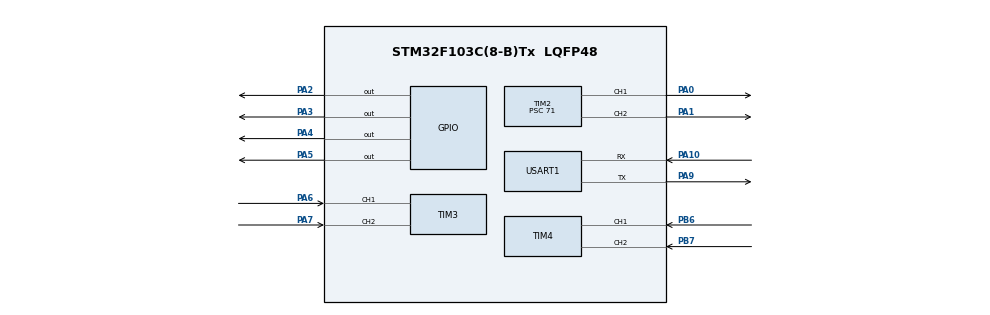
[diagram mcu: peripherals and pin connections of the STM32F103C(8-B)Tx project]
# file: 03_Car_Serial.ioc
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Mcu.Family=STM32F1
Mcu.Name=STM32F103C(8-B)Tx
Mcu.Package=LQFP48
NVIC.PriorityGroup=NVIC_PRIORITYGROUP_4
NVIC.TIM1_UP_IRQn=true\:0\:0\:false\:false\:true\:true\:true\:true
PA0-WKUP.Signal=S_TIM2_CH1_ETR
PA1.Signal=S_TIM2_CH2
PA10.Mode=Asynchronous
PA10.Signal=USART1_RX
PA13.Mode=Serial_Wire
PA13.Signal=SYS_JTMS-SWDIO
PA14.Mode=Serial_Wire
PA14.Signal=SYS_JTCK-SWCLK
PA2.Signal=GPIO_Output
PA3.Signal=GPIO_Output
PA4.Signal=GPIO_Output
PA5.Signal=GPIO_Output
PA6.Signal=S_TIM3_CH1
PA7.Signal=S_TIM3_CH2
PA9.Mode=Asynchronous
PA9.Signal=USART1_TX
PB6.Signal=S_TIM4_CH1
PB7.Signal=S_TIM4_CH2
ProjectManager.HeapSize=0x200
ProjectManager.StackSize=0x400
ProjectManager.TargetToolchain=STM32CubeIDE
RCC.APB1Freq_Value=8000000
RCC.APB2Freq_Value=8000000
SH.S_TIM2_CH1_ETR.0=TIM2_CH1,PWM Generation1 CH1
SH.S_TIM2_CH2.0=TIM2_CH2,PWM Generation2 CH2
SH.S_TIM3_CH1.0=TIM3_CH1,Encoder_Interface
SH.S_TIM3_CH2.0=TIM3_CH2,Encoder_Interface
SH.S_TIM4_CH1.0=TIM4_CH1,Encoder_Interface
SH.S_TIM4_CH2.0=TIM4_CH2,Encoder_Interface
TIM1.Period=99
TIM1.Prescaler=7199
TIM2.Channel-PWM\ Generation1\ CH1=TIM_CHANNEL_1
TIM2.Channel-PWM\ Generation2\ CH2=TIM_CHANNEL_2
TIM2.Period=999
TIM2.Prescaler=71
USART1.VirtualMode=VM_ASYNC
VP_TIM1_VS_ClockSourceINT.Mode=Internal
board=custom

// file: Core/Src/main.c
/* USER CODE BEGIN Header */
/**
  ******************************************************************************
  * @file           : main.c
  * @brief          : Main program body
  ******************************************************************************
  * @attention
  *
  * Copyright (c) 2026 STMicroelectronics.
  * All rights reserved.
  *
  * This software is licensed under terms that can be found in the LICENSE file
  * in the root directory of this software component.
  * If no LICENSE file comes with this software, it is provided AS-IS.
  *
  ******************************************************************************
  */
/* USER CODE END Header */
#include "main.h"

/* USER CODE BEGIN Includes */
#include <stdio.h>
#include <string.h>
/* USER CODE END Includes */

TIM_HandleTypeDef htim1;
TIM_HandleTypeDef htim2;
TIM_HandleTypeDef htim3;
TIM_HandleTypeDef htim4;

UART_HandleTypeDef huart1;

/* USER CODE BEGIN PV */
typedef struct {
    float Kp, Ki, Kd;
    float target;
    float error, last_error;
    float integral;
    float output;
    float output_max;
} PID;

PID pid;
volatile float current_rpm = 0;
volatile uint8_t pid_ready = 0;
#define PULSES_PER_REV 1456.0f

// 串口接收缓冲区（用于轮询）
volatile uint8_t uart_rx_buf[7];
volatile uint8_t uart_rx_index = 0;
volatile uint8_t uart_rx_complete = 0;

/* USER CODE END PV */

void SystemClock_Config(void);
static void MX_GPIO_Init(void);
static void MX_TIM1_Init(void);
static void MX_TIM2_Init(void);
static void MX_TIM3_Init(void);
static void MX_TIM4_Init(void);
static void MX_USART1_UART_Init(void);

/* USER CODE BEGIN 0 */
void PID_Calc(PID *p, float current)
{
    if (p->target == 0.0f) {
        p->output = 0.0f;
        p->integral = 0.0f;
        p->last_error = 0.0f;
        return;
    }

    p->error = p->target - current;
    p->integral += p->error;
    if (p->integral > 500.0f) p->integral = 500.0f;
    if (p->integral < -100.0f) p->integral = -100.0f;

    float output = 275.0f;
    output += p->Kp * p->error;
    output += p->Ki * p->integral;
    output += p->Kd * (p->error - p->last_error);
    if (output > 900.0f) output = 900.0f;
    if (output < 0.0f)   output = 0.0f;

    p->output = output;
    p->last_error = p->error;
}

// 指令解析（统一用 pid）
void Parse_Command(void)
{
  if (uart_rx_complete)
  {
    uart_rx_complete = 0;
    uint8_t cmd = uart_rx_buf[1];
    int16_t left_speed = (uart_rx_buf[2] << 8) | uart_rx_buf[3];
    int16_t right_speed = (uart_rx_buf[4] << 8) | uart_rx_buf[5];

    switch (cmd)
    {
      case 0x01:
        pid.target = left_speed;
        HAL_GPIO_WritePin(GPIOA, GPIO_PIN_2, GPIO_PIN_SET);
        HAL_GPIO_WritePin(GPIOA, GPIO_PIN_3, GPIO_PIN_RESET);
        HAL_GPIO_WritePin(GPIOA, GPIO_PIN_4, GPIO_PIN_SET);
        HAL_GPIO_WritePin(GPIOA, GPIO_PIN_5, GPIO_PIN_RESET);
        break;
      case 0x05:
        pid.target = 0;
        break;
    }
  }
}
/* USER CODE END 0 */

int main(void)
{

  /* MCU Configuration--------------------------------------------------------*/

  /* Reset of all peripherals, Initializes the Flash interface and the Systick. */
  HAL_Init();

  /* Configure the system clock */
  SystemClock_Config();

  /* Initialize all configured peripherals */
  MX_GPIO_Init();
  MX_TIM1_Init();
  MX_TIM2_Init();
  MX_TIM3_Init();
  MX_TIM4_Init();
  MX_USART1_UART_Init();
  /* USER CODE BEGIN 2 */
  // 手动开启编码器引脚上拉
  GPIOA->ODR |= (GPIO_PIN_6 | GPIO_PIN_7);
  GPIOB->ODR |= (GPIO_PIN_6 | GPIO_PIN_7);

  // 启动编码器和PWM
  HAL_TIM_Encoder_Start(&htim3, TIM_CHANNEL_ALL);
  HAL_TIM_Encoder_Start(&htim4, TIM_CHANNEL_ALL);
  HAL_TIM_PWM_Start(&htim2, TIM_CHANNEL_1);
  HAL_TIM_PWM_Start(&htim2, TIM_CHANNEL_2);
  HAL_TIM_Base_Start_IT(&htim1);

  // PID参数
  pid.Kp = 2.5f;
  pid.Ki = 0.2f;
  pid.Kd = 0.1f;
  pid.target = 0.0f;
  pid.output_max = 999.0f;
  pid.integral = 0;
  pid.last_error = 0;

  // 方向：正转
  HAL_GPIO_WritePin(GPIOA, GPIO_PIN_2, GPIO_PIN_SET);
  HAL_GPIO_WritePin(GPIOA, GPIO_PIN_3, GPIO_PIN_RESET);
  HAL_GPIO_WritePin(GPIOA, GPIO_PIN_4, GPIO_PIN_SET);
  HAL_GPIO_WritePin(GPIOA, GPIO_PIN_5, GPIO_PIN_RESET);

  // 启动消息
  char *msg = "READY\r\n";
  HAL_UART_Transmit(&huart1, (uint8_t*)msg, strlen(msg), HAL_MAX_DELAY);
  /* USER CODE END 2 */

  /* Infinite loop */
  /* USER CODE BEGIN WHILE */
  while (1)
  {
	  // ========== 串口轮询接收 ==========
	    if (__HAL_UART_GET_FLAG(&huart1, UART_FLAG_RXNE))
	    {
	      char cmd = (char)(huart1.Instance->DR & 0xFF);

	      switch (cmd)
	      {
	        case 'w':  // 前进
	          HAL_GPIO_WritePin(GPIOA, GPIO_PIN_2, GPIO_PIN_SET);
	          HAL_GPIO_WritePin(GPIOA, GPIO_PIN_3, GPIO_PIN_RESET);
	          HAL_GPIO_WritePin(GPIOA, GPIO_PIN_4, GPIO_PIN_SET);
	          HAL_GPIO_WritePin(GPIOA, GPIO_PIN_5, GPIO_PIN_RESET);
	          __HAL_TIM_SET_COMPARE(&htim2, TIM_CHANNEL_1, 300);
	          __HAL_TIM_SET_COMPARE(&htim2, TIM_CHANNEL_2, 300);
	          break;

	        case 's':  // 后退
	          HAL_GPIO_WritePin(GPIOA, GPIO_PIN_2, GPIO_PIN_RESET);
	          HAL_GPIO_WritePin(GPIOA, GPIO_PIN_3, GPIO_PIN_SET);
	          HAL_GPIO_WritePin(GPIOA, GPIO_PIN_4, GPIO_PIN_RESET);
	          HAL_GPIO_WritePin(GPIOA, GPIO_PIN_5, GPIO_PIN_SET);
	          __HAL_TIM_SET_COMPARE(&htim2, TIM_CHANNEL_1, 300);
	          __HAL_TIM_SET_COMPARE(&htim2, TIM_CHANNEL_2, 300);
	          break;

	        case 'a':  // 左转（左轮反转，右轮正转）
	          HAL_GPIO_WritePin(GPIOA, GPIO_PIN_2, GPIO_PIN_RESET);
	          HAL_GPIO_WritePin(GPIOA, GPIO_PIN_3, GPIO_PIN_SET);
	          HAL_GPIO_WritePin(GPIOA, GPIO_PIN_4, GPIO_PIN_SET);
	          HAL_GPIO_WritePin(GPIOA, GPIO_PIN_5, GPIO_PIN_RESET);
	          __HAL_TIM_SET_COMPARE(&htim2, TIM_CHANNEL_1, 300);
	          __HAL_TIM_SET_COMPARE(&htim2, TIM_CHANNEL_2, 300);
	          break;

	        case 'd':  // 右转（左轮正转，右轮反转）
	          HAL_GPIO_WritePin(GPIOA, GPIO_PIN_2, GPIO_PIN_SET);
	          HAL_GPIO_WritePin(GPIOA, GPIO_PIN_3, GPIO_PIN_RESET);
	          HAL_GPIO_WritePin(GPIOA, GPIO_PIN_4, GPIO_PIN_RESET);
	          HAL_GPIO_WritePin(GPIOA, GPIO_PIN_5, GPIO_PIN_SET);
	          __HAL_TIM_SET_COMPARE(&htim2, TIM_CHANNEL_1, 300);
	          __HAL_TIM_SET_COMPARE(&htim2, TIM_CHANNEL_2, 300);
	          break;

	        case ' ':  // 停止
	          __HAL_TIM_SET_COMPARE(&htim2, TIM_CHANNEL_1, 0);
	          __HAL_TIM_SET_COMPARE(&htim2, TIM_CHANNEL_2, 0);
	          break;
	      }
	    }
    /* USER CODE END WHILE */
  }
  }

void SystemClock_Config(void)
{
  RCC_OscInitTypeDef RCC_OscInitStruct = {0};
  RCC_ClkInitTypeDef RCC_ClkInitStruct = {0};

  /** Initializes the RCC Oscillators according to the specified parameters
  * in the RCC_OscInitTypeDef structure.
  */
  RCC_OscInitStruct.OscillatorType = RCC_OSCILLATORTYPE_HSI;
  RCC_OscInitStruct.HSIState = RCC_HSI_ON;
  RCC_OscInitStruct.HSICalibrationValue = RCC_HSICALIBRATION_DEFAULT;
  RCC_OscInitStruct.PLL.PLLState = RCC_PLL_NONE;
  if (HAL_RCC_OscConfig(&RCC_OscInitStruct) != HAL_OK)
  {
    Error_Handler();
  }

  /** Initializes the CPU, AHB and APB buses clocks
  */
  RCC_ClkInitStruct.ClockType = RCC_CLOCKTYPE_HCLK|RCC_CLOCKTYPE_SYSCLK
                              |RCC_CLOCKTYPE_PCLK1|RCC_CLOCKTYPE_PCLK2;
  RCC_ClkInitStruct.SYSCLKSource = RCC_SYSCLKSOURCE_HSI;
  RCC_ClkInitStruct.AHBCLKDivider = RCC_SYSCLK_DIV1;
  RCC_ClkInitStruct.APB1CLKDivider = RCC_HCLK_DIV1;
  RCC_ClkInitStruct.APB2CLKDivider = RCC_HCLK_DIV1;

  if (HAL_RCC_ClockConfig(&RCC_ClkInitStruct, FLASH_LATENCY_0) != HAL_OK)
  {
    Error_Handler();
  }
}

static void MX_TIM1_Init(void)
{

  TIM_ClockConfigTypeDef sClockSourceConfig = {0};
  TIM_MasterConfigTypeDef sMasterConfig = {0};

  htim1.Instance = TIM1;
  htim1.Init.Prescaler = 7199;
  htim1.Init.CounterMode = TIM_COUNTERMODE_UP;
  htim1.Init.Period = 99;
  htim1.Init.ClockDivision = TIM_CLOCKDIVISION_DIV1;
  htim1.Init.RepetitionCounter = 0;
  htim1.Init.AutoReloadPreload = TIM_AUTORELOAD_PRELOAD_DISABLE;
  if (HAL_TIM_Base_Init(&htim1) != HAL_OK)
  {
    Error_Handler();
  }
  sClockSourceConfig.ClockSource = TIM_CLOCKSOURCE_INTERNAL;
  if (HAL_TIM_ConfigClockSource(&htim1, &sClockSourceConfig) != HAL_OK)
  {
    Error_Handler();
  }
  sMasterConfig.MasterOutputTrigger = TIM_TRGO_RESET;
  sMasterConfig.MasterSlaveMode = TIM_MASTERSLAVEMODE_DISABLE;
  if (HAL_TIMEx_MasterConfigSynchronization(&htim1, &sMasterConfig) != HAL_OK)
  {
    Error_Handler();
  }

}

static void MX_TIM2_Init(void)
{

  TIM_MasterConfigTypeDef sMasterConfig = {0};
  TIM_OC_InitTypeDef sConfigOC = {0};

  htim2.Instance = TIM2;
  htim2.Init.Prescaler = 71;
  htim2.Init.CounterMode = TIM_COUNTERMODE_UP;
  htim2.Init.Period = 999;
  htim2.Init.ClockDivision = TIM_CLOCKDIVISION_DIV1;
  htim2.Init.AutoReloadPreload = TIM_AUTORELOAD_PRELOAD_DISABLE;
  if (HAL_TIM_PWM_Init(&htim2) != HAL_OK)
  {
    Error_Handler();
  }
  sMasterConfig.MasterOutputTrigger = TIM_TRGO_RESET;
  sMasterConfig.MasterSlaveMode = TIM_MASTERSLAVEMODE_DISABLE;
  if (HAL_TIMEx_MasterConfigSynchronization(&htim2, &sMasterConfig) != HAL_OK)
  {
    Error_Handler();
  }
  sConfigOC.OCMode = TIM_OCMODE_PWM1;
  sConfigOC.Pulse = 0;
  sConfigOC.OCPolarity = TIM_OCPOLARITY_HIGH;
  sConfigOC.OCFastMode = TIM_OCFAST_DISABLE;
  if (HAL_TIM_PWM_ConfigChannel(&htim2, &sConfigOC, TIM_CHANNEL_1) != HAL_OK)
  {
    Error_Handler();
  }
  if (HAL_TIM_PWM_ConfigChannel(&htim2, &sConfigOC, TIM_CHANNEL_2) != HAL_OK)
  {
    Error_Handler();
  }
  HAL_TIM_MspPostInit(&htim2);

}

static void MX_TIM3_Init(void)
{

  TIM_Encoder_InitTypeDef sConfig = {0};
  TIM_MasterConfigTypeDef sMasterConfig = {0};

  htim3.Instance = TIM3;
  htim3.Init.Prescaler = 0;
  htim3.Init.CounterMode = TIM_COUNTERMODE_UP;
  htim3.Init.Period = 65535;
  htim3.Init.ClockDivision = TIM_CLOCKDIVISION_DIV1;
  htim3.Init.AutoReloadPreload = TIM_AUTORELOAD_PRELOAD_DISABLE;
  sConfig.EncoderMode = TIM_ENCODERMODE_TI1;
  sConfig.IC1Polarity = TIM_ICPOLARITY_RISING;
  sConfig.IC1Selection = TIM_ICSELECTION_DIRECTTI;
  sConfig.IC1Prescaler = TIM_ICPSC_DIV1;
  sConfig.IC1Filter = 0;
  sConfig.IC2Polarity = TIM_ICPOLARITY_RISING;
  sConfig.IC2Selection = TIM_ICSELECTION_DIRECTTI;
  sConfig.IC2Prescaler = TIM_ICPSC_DIV1;
  sConfig.IC2Filter = 0;
  if (HAL_TIM_Encoder_Init(&htim3, &sConfig) != HAL_OK)
  {
    Error_Handler();
  }
  sMasterConfig.MasterOutputTrigger = TIM_TRGO_RESET;
  sMasterConfig.MasterSlaveMode = TIM_MASTERSLAVEMODE_DISABLE;
  if (HAL_TIMEx_MasterConfigSynchronization(&htim3, &sMasterConfig) != HAL_OK)
  {
    Error_Handler();
  }

}

static void MX_TIM4_Init(void)
{

  TIM_Encoder_InitTypeDef sConfig = {0};
  TIM_MasterConfigTypeDef sMasterConfig = {0};

  htim4.Instance = TIM4;
  htim4.Init.Prescaler = 0;
  htim4.Init.CounterMode = TIM_COUNTERMODE_UP;
  htim4.Init.Period = 65535;
  htim4.Init.ClockDivision = TIM_CLOCKDIVISION_DIV1;
  htim4.Init.AutoReloadPreload = TIM_AUTORELOAD_PRELOAD_DISABLE;
  sConfig.EncoderMode = TIM_ENCODERMODE_TI1;
  sConfig.IC1Polarity = TIM_ICPOLARITY_RISING;
  sConfig.IC1Selection = TIM_ICSELECTION_DIRECTTI;
  sConfig.IC1Prescaler = TIM_ICPSC_DIV1;
  sConfig.IC1Filter = 0;
  sConfig.IC2Polarity = TIM_ICPOLARITY_RISING;
  sConfig.IC2Selection = TIM_ICSELECTION_DIRECTTI;
  sConfig.IC2Prescaler = TIM_ICPSC_DIV1;
  sConfig.IC2Filter = 0;
  if (HAL_TIM_Encoder_Init(&htim4, &sConfig) != HAL_OK)
  {
    Error_Handler();
  }
  sMasterConfig.MasterOutputTrigger = TIM_TRGO_RESET;
  sMasterConfig.MasterSlaveMode = TIM_MASTERSLAVEMODE_DISABLE;
  if (HAL_TIMEx_MasterConfigSynchronization(&htim4, &sMasterConfig) != HAL_OK)
  {
    Error_Handler();
  }

}

static void MX_USART1_UART_Init(void)
{

  huart1.Instance = USART1;
  huart1.Init.BaudRate = 115200;
  huart1.Init.WordLength = UART_WORDLENGTH_8B;
  huart1.Init.StopBits = UART_STOPBITS_1;
  huart1.Init.Parity = UART_PARITY_NONE;
  huart1.Init.Mode = UART_MODE_TX_RX;
  huart1.Init.HwFlowCtl = UART_HWCONTROL_NONE;
  huart1.Init.OverSampling = UART_OVERSAMPLING_16;
  if (HAL_UART_Init(&huart1) != HAL_OK)
  {
    Error_Handler();
  }

}

static void MX_GPIO_Init(void)
{
  GPIO_InitTypeDef GPIO_InitStruct = {0};

  /* GPIO Ports Clock Enable */
  __HAL_RCC_GPIOA_CLK_ENABLE();
  __HAL_RCC_GPIOB_CLK_ENABLE();

  /*Configure GPIO pin Output Level */
  HAL_GPIO_WritePin(GPIOA, GPIO_PIN_2|GPIO_PIN_3|GPIO_PIN_4|GPIO_PIN_5, GPIO_PIN_RESET);

  /*Configure GPIO pins : PA2 PA3 PA4 PA5 */
  GPIO_InitStruct.Pin = GPIO_PIN_2|GPIO_PIN_3|GPIO_PIN_4|GPIO_PIN_5;
  GPIO_InitStruct.Mode = GPIO_MODE_OUTPUT_PP;
  GPIO_InitStruct.Pull = GPIO_NOPULL;
  GPIO_InitStruct.Speed = GPIO_SPEED_FREQ_LOW;
  HAL_GPIO_Init(GPIOA, &GPIO_InitStruct);

}

void Error_Handler(void)
{
  __disable_irq();
  while (1)
  {
  }
}
